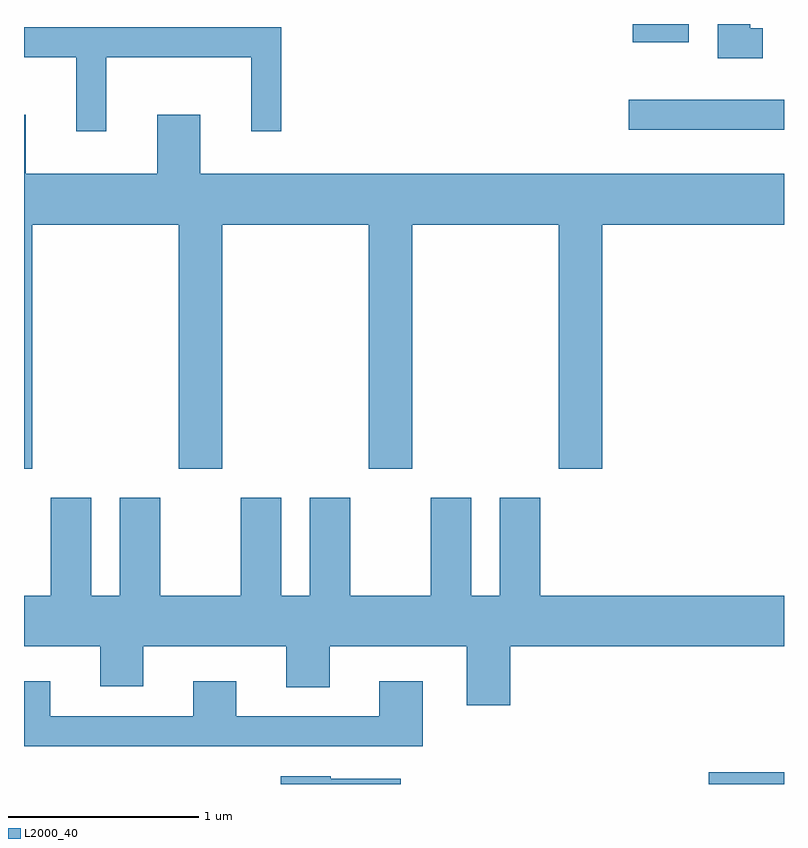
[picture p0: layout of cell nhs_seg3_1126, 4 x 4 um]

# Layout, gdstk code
import gdstk
lib = gdstk.Library(unit=1e-6, precision=1e-09)
def R(c, l, rs):  # rectangles x0, y0, x1, y1
    for r in rs: c.add(gdstk.rectangle(r[:2], r[2:], *l))
def P(c, l, *ps):  # polygons
    for p in ps: c.add(gdstk.Polygon(p, *l))
L2000_40 = (2000, 40)

nhs_seg3_1126 = lib.new_cell('nhs_seg3_1126')
R(nhs_seg3_1126, L2000_40, [(221.216,1191.892,221.611,1191.954), (220.793,1195.336,221.611,1195.494), (220.816,1195.796,221.109,1195.892)])
P(nhs_seg3_1126, L2000_40, [(221.498,1195.869),(221.434,1195.869),(221.434,1195.892),(221.261,1195.892),(221.261,1195.711),(221.498,1195.711)],
  [(218.044,1195.716),(218.806,1195.716),(218.806,1195.328),(218.964,1195.328),(218.964,1195.874),(217.611,1195.874),(217.611,1195.716),(217.886,1195.716),(217.886,1195.328),(218.044,1195.328)],
  [(218.539,1195.414),(218.311,1195.414),(218.311,1195.104),(217.619,1195.104),(217.619,1195.414),(217.611,1195.414),(217.611,1193.551),(217.654,1193.551),(217.654,1194.836),(218.426,1194.836),(218.426,1193.551),(218.654,1193.551),(218.654,1194.836),(219.426,1194.836),(219.426,1193.551),(219.654,1193.551),(219.654,1194.836),(220.426,1194.836),(220.426,1193.551),(220.654,1193.551),(220.654,1194.836),(221.611,1194.836),(221.611,1195.104),(218.539,1195.104)],
  [(220.169,1192.616),(221.611,1192.616),(221.611,1192.884),(220.329,1192.884),(220.329,1193.399),(220.116,1193.399),(220.116,1192.884),(219.964,1192.884),(219.964,1193.399),(219.751,1193.399),(219.751,1192.884),(219.329,1192.884),(219.329,1193.399),(219.116,1193.399),(219.116,1192.884),(218.964,1192.884),(218.964,1193.399),(218.751,1193.399),(218.751,1192.884),(218.329,1192.884),(218.329,1193.399),(218.116,1193.399),(218.116,1192.884),(217.964,1192.884),(217.964,1193.399),(217.751,1193.399),(217.751,1192.884),(217.611,1192.884),(217.611,1192.616),(218.011,1192.616),(218.011,1192.406),(218.239,1192.406),(218.239,1192.616),(218.991,1192.616),(218.991,1192.401),(219.219,1192.401),(219.219,1192.616),(219.941,1192.616),(219.941,1192.306),(220.169,1192.306)],
  [(219.709,1192.434),(219.481,1192.434),(219.481,1192.249),(218.729,1192.249),(218.729,1192.434),(218.501,1192.434),(218.501,1192.249),(217.749,1192.249),(217.749,1192.434),(217.611,1192.434),(217.611,1192.091),(219.709,1192.091)],
  [(219.594,1191.919),(219.225,1191.919),(219.225,1191.934),(218.961,1191.934),(218.961,1191.892),(219.594,1191.892)])

lib.write_gds('nhs_seg3_1126.gds')
